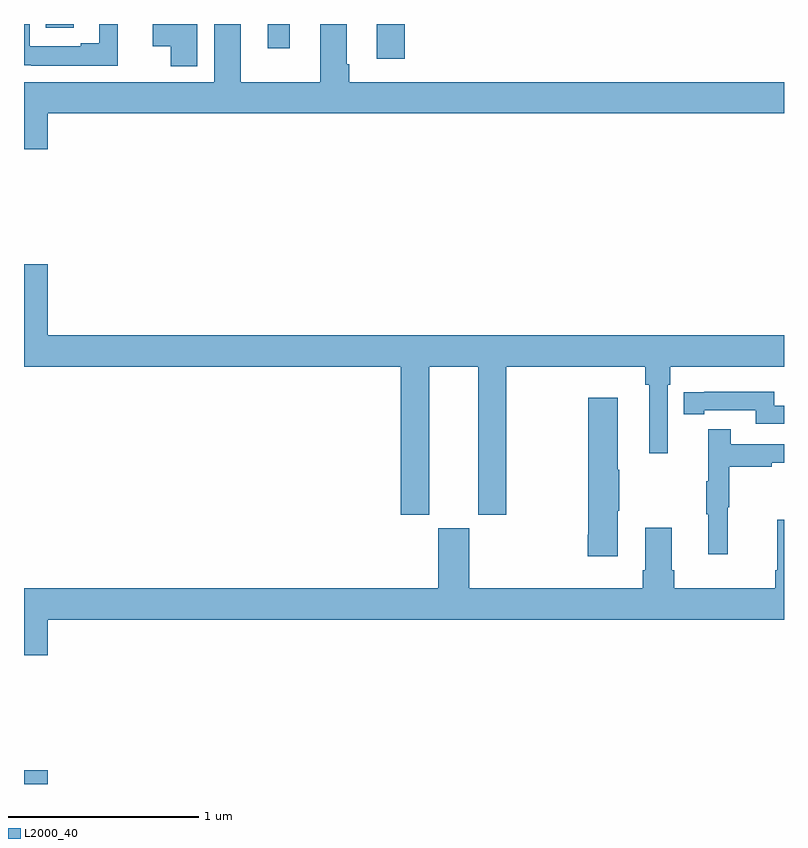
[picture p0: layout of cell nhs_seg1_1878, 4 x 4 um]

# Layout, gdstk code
import gdstk
lib = gdstk.Library(unit=1e-6, precision=1e-09)
def R(c, l, rs):  # rectangles x0, y0, x1, y1
    for r in rs: c.add(gdstk.rectangle(r[:2], r[2:], *l))
def P(c, l, *ps):  # polygons
    for p in ps: c.add(gdstk.Polygon(p, *l))
L2000_40 = (2000, 40)

nhs_seg1_1878 = lib.new_cell('nhs_seg1_1878')
R(nhs_seg1_1878, L2000_40, [(213,552.199,213.124,552.271), (214.856,556.017,215.003,556.199), (214.283,556.071,214.399,556.199), (213.115,556.179,213.262,556.199)])
P(nhs_seg1_1878, L2000_40, [(213.494,556.199),(213.395,556.199),(213.395,556.099),(213.299,556.099),(213.299,556.081),(213.03,556.081),(213.03,556.199),(213,556.199),(213,555.981),(213.037,555.981),(213.037,555.98),(213.494,555.98)],
  [(213.913,556.199),(213.677,556.199),(213.677,556.082),(213.773,556.082),(213.773,555.977),(213.913,555.977)],
  [(213.124,555.728),(217,555.728),(217,555.892),(214.712,555.892),(214.712,555.988),(214.699,555.988),(214.699,556.199),(214.559,556.199),(214.559,555.892),(214.141,555.892),(214.141,556.199),(214.001,556.199),(214.001,555.892),(213,555.892),(213,555.54),(213.124,555.54)],
  [(215.134,554.396),(215.39,554.396),(215.39,553.617),(215.538,553.617),(215.538,554.396),(216.271,554.396),(216.271,554.3),(216.29,554.3),(216.29,553.941),(216.387,553.941),(216.387,554.3),(216.401,554.3),(216.401,554.396),(217,554.396),(217,554.56),(213.124,554.56),(213.124,554.935),(213,554.935),(213,554.396),(214.982,554.396),(214.982,553.617),(215.134,553.617)],
  [(217,554.19),(216.948,554.19),(216.948,554.263),(216.58,554.263),(216.58,554.262),(216.472,554.262),(216.472,554.146),(216.58,554.146),(216.58,554.166),(216.852,554.166),(216.852,554.094),(217,554.094)],
  [(216.124,553.636),(216.132,553.636),(216.132,553.853),(216.124,553.853),(216.124,554.233),(215.971,554.233),(215.971,553.51),(215.966,553.51),(215.966,553.398),(216.124,553.398)],
  [(216.704,553.656),(216.712,553.656),(216.712,553.87),(216.935,553.87),(216.935,553.89),(217,553.89),(217,553.986),(216.719,553.986),(216.719,554.065),(216.602,554.065),(216.602,553.793),(216.591,553.793),(216.591,553.619),(216.602,553.619),(216.602,553.407),(216.704,553.407)],
  [(213.124,553.064),(217,553.064),(217,553.591),(216.965,553.591),(216.965,553.324),(216.953,553.324),(216.953,553.228),(216.422,553.228),(216.422,553.324),(216.409,553.324),(216.409,553.549),(216.269,553.549),(216.269,553.324),(216.257,553.324),(216.257,553.228),(215.344,553.228),(215.344,553.545),(215.18,553.545),(215.18,553.228),(213,553.228),(213,552.876),(213.124,552.876)])

lib.write_gds('nhs_seg1_1878.gds')
